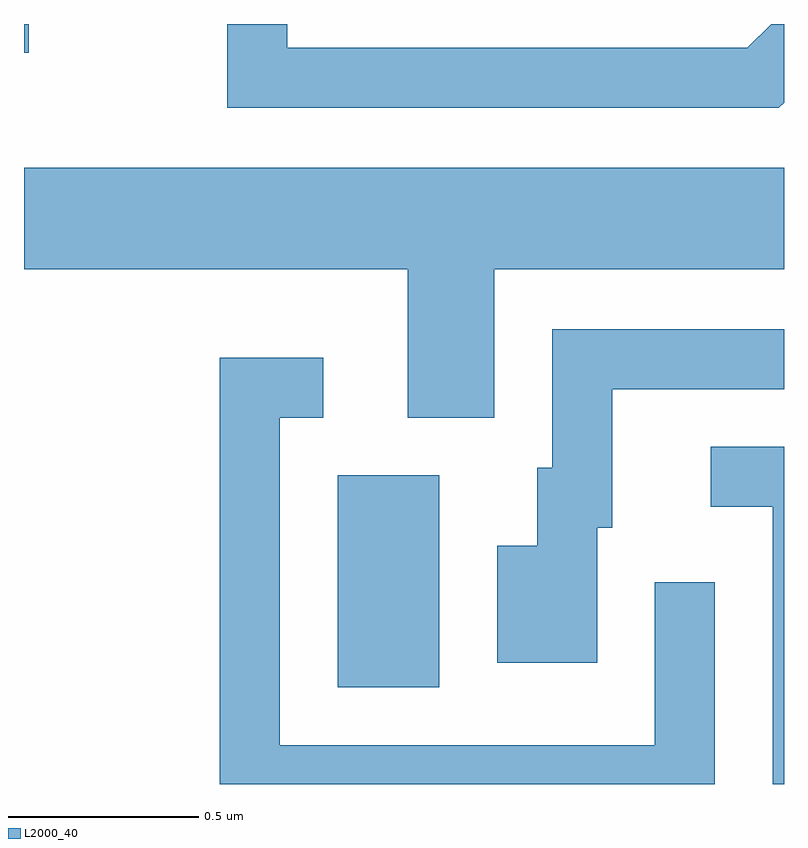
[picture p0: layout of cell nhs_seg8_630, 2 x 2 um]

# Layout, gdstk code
import gdstk
lib = gdstk.Library(unit=1e-6, precision=1e-09)
def R(c, l, rs):  # rectangles x0, y0, x1, y1
    for r in rs: c.add(gdstk.rectangle(r[:2], r[2:], *l))
def P(c, l, *ps):  # polygons
    for p in ps: c.add(gdstk.Polygon(p, *l))
L2000_40 = (2000, 40)

nhs_seg8_630 = lib.new_cell('nhs_seg8_630')
R(nhs_seg8_630, L2000_40, [(190.436,1888.596,190.704,1889.154), (189.611,1890.266,189.624,1890.342)])
P(nhs_seg8_630, L2000_40, [(191.611,1890.135),(191.611,1890.342),(191.577,1890.342),(191.514,1890.279),(190.304,1890.279),(190.304,1890.342),(190.146,1890.342),(190.146,1890.121),(191.597,1890.121)],
  [(190.849,1889.696),(191.611,1889.696),(191.611,1889.964),(189.611,1889.964),(189.611,1889.696),(190.621,1889.696),(190.621,1889.306),(190.849,1889.306)],
  [(191.119,1889.016),(191.159,1889.016),(191.159,1889.381),(191.611,1889.381),(191.611,1889.539),(191.001,1889.539),(191.001,1889.174),(190.961,1889.174),(190.961,1888.969),(190.856,1888.969),(190.856,1888.661),(191.119,1888.661)],
  [(191.429,1888.873),(191.271,1888.873),(191.271,1888.444),(190.284,1888.444),(190.284,1889.306),(190.398,1889.306),(190.398,1889.464),(190.126,1889.464),(190.126,1888.342),(191.429,1888.342)],
  [(191.611,1889.229),(191.418,1889.229),(191.418,1889.071),(191.581,1889.071),(191.581,1888.342),(191.611,1888.342)])

lib.write_gds('nhs_seg8_630.gds')
